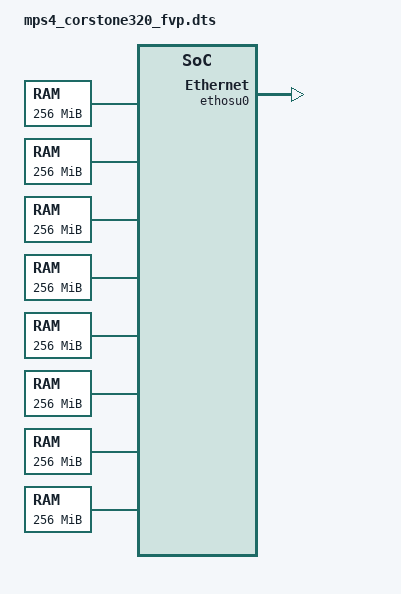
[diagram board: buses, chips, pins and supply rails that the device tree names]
/*
 * Copyright 2025 Arm Limited and/or its affiliates <open-source-office@arm.com>
 *
 * SPDX-License-Identifier: Apache-2.0
 */

/dts-v1/;

#include <arm/armv8.1-m.dtsi>
#include <zephyr/dt-bindings/i2c/i2c.h>
#include <zephyr/dt-bindings/input/input-event-codes.h>
#include <mem.h>

/ {
	compatible = "arm,mps4-fvp";
	#address-cells = <1>;
	#size-cells = <1>;

	chosen {
		zephyr,console = &uart0;
		zephyr,shell-uart = &uart0;
		zephyr,sram = &sram;
		zephyr,flash = &isram;
	};

	cpus {
		#address-cells = <1>;
		#size-cells = <0>;

		cpu@0 {
			device_type = "cpu";
			compatible = "arm,cortex-m85";
			reg = <0>;
			#address-cells = <1>;
			#size-cells = <1>;

			mpu: mpu@e000ed90 {
				compatible = "arm,armv8.1m-mpu";
				reg = <0xe000ed90 0x40>;
			};
		};
	};

	ethosu {
		#address-cells = <1>;
		#size-cells = <0>;
		interrupt-parent = <&nvic>;

		ethosu0: ethosu@50004000 {
			compatible = "arm,ethos-u";
			reg = <0x50004000>;
			interrupts = <16 3>;
			secure-enable;
			privilege-enable;
			status = "okay";
		};
	};

	/* We utilize the secure addresses, if you subtract 0x10000000
	 * you'll get the non-secure alias
	 */
	itcm: itcm@10000000 {	/* alias @ 0x0 */
		compatible = "zephyr,memory-region";
		reg = <0x10000000 DT_SIZE_K(32)>;
		zephyr,memory-region = "ITCM";
	};

	sram: sram@12000000 {	/* alias @ 0x01000000 */
		compatible = "zephyr,memory-region", "mmio-sram";
		reg = <0x12000000 DT_SIZE_M(2)>;
		zephyr,memory-region = "SRAM";
	};

	dtcm: dtcm@30000000 {	/* alias @ 0x20000000 */
		compatible = "zephyr,memory-region";
		reg = <0x30000000 DT_SIZE_K(32)>;
		zephyr,memory-region = "DTCM";
	};

	isram: sram@31000000 {	/* alias @ 0x21000000 */
		compatible = "zephyr,memory-region", "mmio-sram";
		reg = <0x31000000 DT_SIZE_M(4)>;
		zephyr,memory-region = "ISRAM";
	};

	/* The DDR4 node and zephyr,memory-region follow the naming convention
	 * ddr4_$IDAUID_$SECURITY_FLAG except for the default region of board
	 * which is named as "DDR4" to be compatible with existing
	 * samples/tests that expect DDR4 node and region to be of the same name.
	 */
	ddr4_6_ns: memory@60000000 {
		compatible = "zephyr,memory-region";
		reg = <0x60000000 DT_SIZE_M(256)>;
		zephyr,memory-region = "DDR4_6_NS";
	};

	ddr4: memory@70000000 {
		compatible = "zephyr,memory-region";
		reg = <0x70000000 DT_SIZE_M(256)>;
		zephyr,memory-region = "DDR4";
	};

	ddr4_8_ns: memory@80000000 {
		compatible = "zephyr,memory-region";
		reg = <0x80000000 DT_SIZE_M(256)>;
		zephyr,memory-region = "DDR4_8_NS";
	};

	ddr4_9_s: memory@90000000 {
		compatible = "zephyr,memory-region";
		reg = <0x90000000 DT_SIZE_M(256)>;
		zephyr,memory-region = "DDR4_9_S";
	};

	ddr4_a_ns: memory@a0000000 {
		compatible = "zephyr,memory-region";
		reg = <0xa0000000 DT_SIZE_M(256)>;
		zephyr,memory-region = "DDR4_A_NS";
	};

	ddr4_b_s: memory@b0000000 {
		compatible = "zephyr,memory-region";
		reg = <0xb0000000 DT_SIZE_M(256)>;
		zephyr,memory-region = "DDR4_B_S";
	};

	ddr4_c_ns: memory@c0000000 {
		compatible = "zephyr,memory-region";
		reg = <0xc0000000 DT_SIZE_M(256)>;
		zephyr,memory-region = "DDR4_C_NS";
	};

	ddr4_d_s: memory@d0000000 {
		compatible = "zephyr,memory-region";
		reg = <0xd0000000 DT_SIZE_M(256)>;
		zephyr,memory-region = "DDR4_D_S";
	};

	soc {
		peripheral@50000000 {
			#address-cells = <1>;
			#size-cells = <1>;
			ranges = <0x0 0x50000000 0x10000000>;

			#include "mps4_common_soc_peripheral.dtsi"
		};
	};
};

#include "mps4_common.dtsi"
